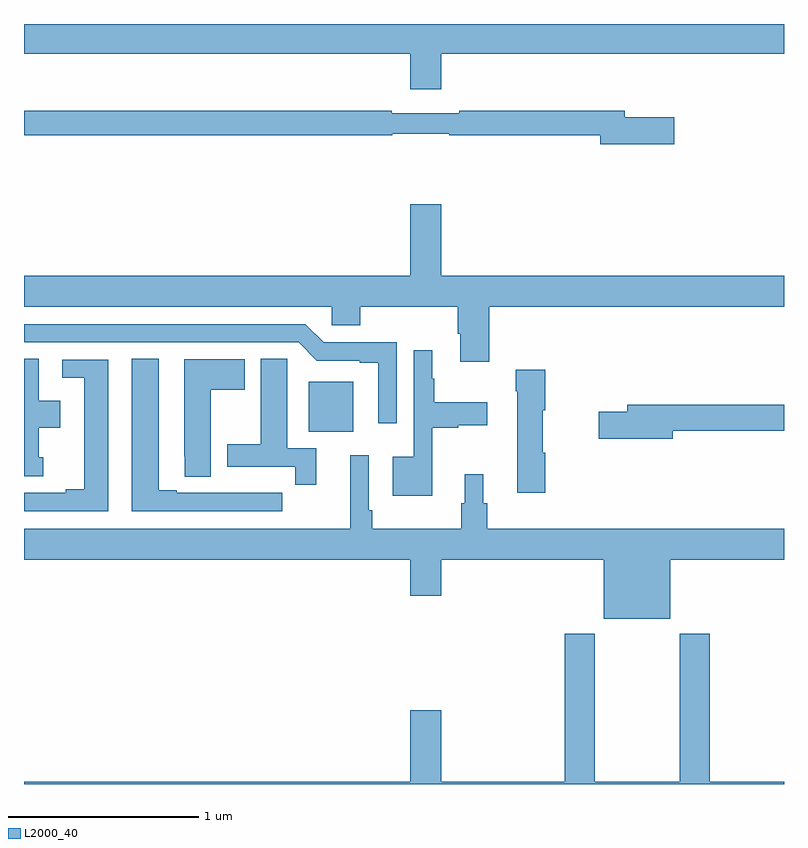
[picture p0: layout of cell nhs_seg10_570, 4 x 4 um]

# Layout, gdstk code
import gdstk
lib = gdstk.Library(unit=1e-6, precision=1e-09)
def R(c, l, rs):  # rectangles x0, y0, x1, y1
    for r in rs: c.add(gdstk.rectangle(r[:2], r[2:], *l))
def P(c, l, *ps):  # polygons
    for p in ps: c.add(gdstk.Polygon(p, *l))
L2000_40 = (2000, 40)

nhs_seg10_570 = lib.new_cell('nhs_seg10_570')
R(nhs_seg10_570, L2000_40, [(140.498,1270.355,140.734,1270.618)])
P(nhs_seg10_570, L2000_40, [(141.196,1272.344),(143,1272.344),(143,1272.5),(139,1272.5),(139,1272.344),(141.032,1272.344),(141.032,1272.156),(141.196,1272.156)],
  [(142.423,1272.009),(142.162,1272.009),(142.162,1272.043),(141.292,1272.043),(141.292,1272.03),(140.936,1272.03),(140.936,1272.043),(139,1272.043),(139,1271.914),(140.938,1271.914),(140.938,1271.922),(141.238,1271.922),(141.238,1271.914),(142.034,1271.914),(142.034,1271.867),(142.423,1271.867)],
  [(141.449,1271.012),(143,1271.012),(143,1271.176),(141.196,1271.176),(141.196,1271.551),(141.032,1271.551),(141.032,1271.176),(139,1271.176),(139,1271.012),(140.619,1271.012),(140.619,1270.914),(140.771,1270.914),(140.771,1271.012),(141.284,1271.012),(141.284,1270.87),(141.296,1270.87),(141.296,1270.722),(141.449,1270.722)],
  [(140.961,1270.824),(140.577,1270.824),(140.481,1270.92),(139,1270.92),(139,1270.824),(140.445,1270.824),(140.541,1270.728),(140.768,1270.728),(140.768,1270.716),(140.864,1270.716),(140.864,1270.398),(140.961,1270.398)],
  [(141.148,1270.376),(141.285,1270.376),(141.285,1270.388),(141.439,1270.388),(141.439,1270.51),(141.16,1270.51),(141.16,1270.634),(141.148,1270.634),(141.148,1270.783),(141.051,1270.783),(141.051,1270.222),(140.942,1270.222),(140.942,1270.016),(141.148,1270.016)],
  [(140.537,1270.266),(140.386,1270.266),(140.386,1270.628),(140.385,1270.628),(140.385,1270.739),(140.246,1270.739),(140.246,1270.287),(140.069,1270.287),(140.069,1270.17),(140.428,1270.17),(140.428,1270.074),(140.537,1270.074)],
  [(139.102,1270.221),(139.078,1270.221),(139.078,1270.376),(139.192,1270.376),(139.192,1270.516),(139.078,1270.516),(139.078,1270.739),(139,1270.739),(139,1270.119),(139.102,1270.119)],
  [(140.359,1270.032),(140.246,1270.032),(140.246,1270.033),(140.08,1270.033),(140.08,1270.032),(139.804,1270.032),(139.804,1270.047),(139.708,1270.047),(139.708,1270.739),(139.568,1270.739),(139.568,1269.936),(140.359,1269.936)],
  [(139.984,1270.576),(140.161,1270.576),(140.161,1270.735),(139.844,1270.735),(139.844,1270.225),(139.845,1270.225),(139.845,1270.117),(139.984,1270.117)],
  [(139.444,1270.734),(139.2,1270.734),(139.2,1270.638),(139.316,1270.638),(139.316,1270.052),(139.22,1270.052),(139.22,1270.032),(139,1270.032),(139,1269.936),(139.444,1269.936)],
  [(141.743,1270.244),(141.73,1270.244),(141.73,1270.468),(141.743,1270.468),(141.743,1270.681),(141.589,1270.681),(141.589,1270.568),(141.596,1270.568),(141.596,1270.032),(141.743,1270.032)],
  [(142.414,1270.36),(143,1270.36),(143,1270.496),(142.175,1270.496),(142.175,1270.46),(142.026,1270.46),(142.026,1270.318),(142.414,1270.318)],
  [(140.834,1269.94),(140.814,1269.94),(140.814,1270.231),(140.717,1270.231),(140.717,1269.844),(139,1269.844),(139,1269.68),(141.032,1269.68),(141.032,1269.492),(141.196,1269.492),(141.196,1269.68),(142.052,1269.68),(142.052,1269.371),(142.402,1269.371),(142.402,1269.68),(143,1269.68),(143,1269.844),(141.437,1269.844),(141.437,1269.978),(141.418,1269.978),(141.418,1270.129),(141.32,1270.129),(141.32,1269.978),(141.301,1269.978),(141.301,1269.844),(140.834,1269.844)],
  [(143,1268.512),(142.61,1268.512),(142.61,1269.292),(142.45,1269.292),(142.45,1268.512),(142.005,1268.512),(142.005,1269.292),(141.845,1269.292),(141.845,1268.512),(141.196,1268.512),(141.196,1268.887),(141.032,1268.887),(141.032,1268.512),(139,1268.512),(139,1268.5),(143,1268.5)])

lib.write_gds('nhs_seg10_570.gds')
